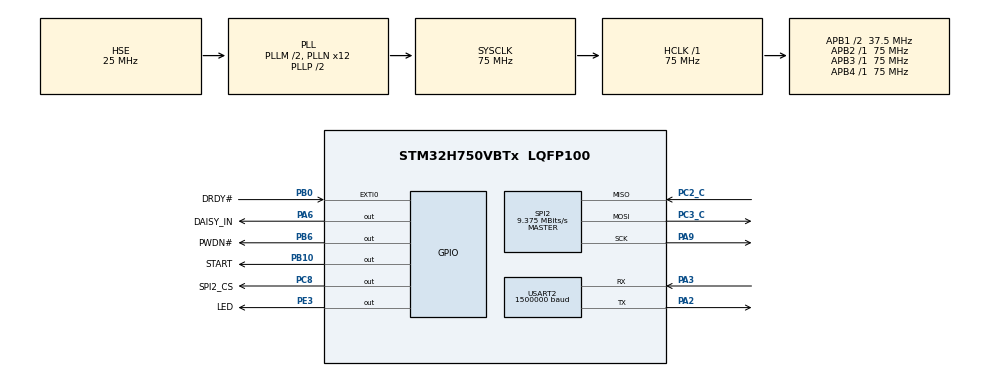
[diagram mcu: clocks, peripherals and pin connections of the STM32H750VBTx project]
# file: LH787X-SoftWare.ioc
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CORTEX_M7.default_mode_Activation=1
Mcu.Family=STM32H7
Mcu.Name=STM32H750VBTx
Mcu.Package=LQFP100
NVIC.PriorityGroup=NVIC_PRIORITYGROUP_4
PA2.Mode=Asynchronous
PA2.Signal=USART2_TX
PA3.Mode=Asynchronous
PA3.Signal=USART2_RX
PA6.GPIO_Label=DAISY_IN
PA6.Signal=GPIO_Output
PA9.Mode=Full_Duplex_Master
PA9.Signal=SPI2_SCK
PB0.GPIO_Label=DRDY\#
PB0.Signal=GPXTI0
PB10.GPIO_Label=START
PB10.Signal=GPIO_Output
PB6.GPIO_Label=PWDN\#
PB6.Signal=GPIO_Output
PC2_C.Mode=Full_Duplex_Master
PC2_C.Signal=SPI2_MISO
PC3_C.Mode=Full_Duplex_Master
PC3_C.Signal=SPI2_MOSI
PC8.GPIO_Label=SPI2_CS
PC8.Signal=GPIO_Output
PE3.GPIO_Label=LED
PE3.Signal=GPIO_Output
PH0-OSC_IN\ (PH0).Mode=HSE-External-Oscillator
PH0-OSC_IN\ (PH0).Signal=RCC_OSC_IN
PH1-OSC_OUT\ (PH1).Mode=HSE-External-Oscillator
PH1-OSC_OUT\ (PH1).Signal=RCC_OSC_OUT
ProjectManager.HeapSize=0x200
ProjectManager.StackSize=0x400
ProjectManager.TargetToolchain=MDK-ARM V5.32
RCC.ADCFreq_Value=50390625
RCC.APB1Freq_Value=37500000
RCC.APB2Freq_Value=75000000
RCC.APB3Freq_Value=75000000
RCC.APB4Freq_Value=75000000
RCC.CortexFreq_Value=75000000
RCC.D2PPRE1=RCC_APB1_DIV2
RCC.DIVM1=2
RCC.DIVN1=12
RCC.HCLKFreq_Value=75000000
RCC.PLLFRACN=0
RCC.PLLSourceVirtual=RCC_PLLSOURCE_HSE
RCC.SYSCLKFreq_VALUE=75000000
RCC.SYSCLKSource=RCC_SYSCLKSOURCE_PLLCLK
RCC.USBFreq_Value=75000000
SPI2.BaudRatePrescaler=SPI_BAUDRATEPRESCALER_8
SPI2.CLKPhase=SPI_PHASE_2EDGE
SPI2.CLKPolarity=SPI_POLARITY_LOW
SPI2.CalculateBaudRate=9.375 MBits/s
SPI2.DataSize=SPI_DATASIZE_8BIT
SPI2.Direction=SPI_DIRECTION_2LINES
SPI2.Mode=SPI_MODE_MASTER
SPI2.VirtualType=VM_MASTER
USART2.BaudRate=1500000
USART2.VirtualMode-Asynchronous=VM_ASYNC
VP_MEMORYMAP_VS_MEMORYMAP.Mode=CurAppReg
board=custom

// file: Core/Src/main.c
/* USER CODE BEGIN Header */
/**
  ******************************************************************************
  * @file           : main.c
  * @brief          : Main program body
  ******************************************************************************
  * @attention
  *
  * Copyright (c) 2026 STMicroelectronics.
  * All rights reserved.
  *
  * This software is licensed under terms that can be found in the LICENSE file
  * in the root directory of this software component.
  * If no LICENSE file comes with this software, it is provided AS-IS.
  *
  ******************************************************************************
  */
/* USER CODE END Header */
#include "main.h"
#include "spi.h"
#include "usart.h"
#include "gpio.h"

/* USER CODE BEGIN Includes */
#include <stdio.h>
#include <string.h>
#include "LHA7878.h"
/* USER CODE END Includes */

/* USER CODE BEGIN PV */
static lha7878_dev_t   g_adc_dev;
static lha7878_frame_t g_frame;
static int64_t         g_uv[8];
/* USER CODE END PV */

void SystemClock_Config(void);
static void MPU_Config(void);
/* USER CODE BEGIN PFP */
void DMA1_Stream7_IRQHandler(void);
void USART2_IRQHandler(void);
/* USER CODE END PFP */

/* USER CODE BEGIN 0 */
/* ---------------------------------------------------------------------------
 * USART2 发送改为 DMA (DMA1 Stream7, 请求 USART2_TX)
 *
 * 原问题: fputc 逐字节调 HAL_UART_Transmit 轮询发送, 一行由十几次 printf
 * 拼成、每字节一次 HAL 调用, 打印期间 CPU 被占约 10~15ms, 行不是原子发出,
 * 调试助手上偶发格式错乱; 且打印阻塞期间 SPI 读数会丢帧.
 *
 * 新路径: printf 仍走 fputc/__io_putchar, 但字符先攒进行缓冲, 遇 '\n' 或
 * 缓冲满时整行一次 DMA 发出; 上一笔 DMA 未完成时下一笔等待 (100ms 超时
 * 后回落轮询发送, 串口输出永不丢字节).
 *
 * 必须同时使能 USART2_IRQn: 本工程 HAL 的 DMA 发送完成分两步, DMA 传完
 * 后只置位 UART TCIE, 真正的收尾 (gState 回 READY、调
 * HAL_UART_TxCpltCallback) 在 UART TC 中断里; 不使能 USART2 中断则
 * gState 永久 BUSY_TX、发送完成回调永不执行.
 *
 * 约束 (手工初始化, 未走 CubeMX):
 *  - CubeMX 侧不要再勾选 USART2 的 DMA, 否则会与这里冲突 (CubeMX 会再
 *    生成一个 DMA1_Stream7_IRQHandler, 链接报重定义). 若改由 CubeMX
 *    接管 DMA, 需先删除本段手工初始化与 USER CODE 4 里的两个中断函数.
 *  - 缓冲区在 .bss, 默认 scatter 下位于 0x24000000 AXI SRAM, DMA1 可
 *    访问; 不要把它移到 DTCM (0x20000000, DMA1 不可访问).
 *  - 本工程未使能 D-Cache, 故 DMA 读缓冲前无需 clean; 若将来使能
 *    D-Cache, 下面 SCB_CleanDCache_by_Addr 一行已预留 (当前是空操作).
 * ------------------------------------------------------------------------- */
#define UART_DMA_TX_BUF_SIZE 256u   /* 单行上限: 表格行约 137 字节, 表头约 110 字节 */
#define UART_DMA_TX_WAIT_MS  100u

static DMA_HandleTypeDef hdma_usart2_tx;
static uint8_t  uart_dma_tx_buf[UART_DMA_TX_BUF_SIZE];
static char     uart_dma_line_buf[UART_DMA_TX_BUF_SIZE];
static uint16_t uart_dma_line_len = 0u;
static volatile uint8_t uart_dma_tx_busy = 0u;
static uint8_t  uart_dma_ready = 0u;

static void uart_dma_init(void);
static void uart_dma_send(const uint8_t *data, uint16_t len);
static void uart_dma_flush_line(void);
static void uart_putc_dma(int ch);

static void uart_dma_init(void)
{
  __HAL_RCC_DMA1_CLK_ENABLE();

  hdma_usart2_tx.Instance = DMA1_Stream7;
  hdma_usart2_tx.Init.Request = DMA_REQUEST_USART2_TX;
  hdma_usart2_tx.Init.Direction = DMA_MEMORY_TO_PERIPH;
  hdma_usart2_tx.Init.PeriphInc = DMA_PINC_DISABLE;
  hdma_usart2_tx.Init.MemInc = DMA_MINC_ENABLE;
  hdma_usart2_tx.Init.PeriphDataAlignment = DMA_PDATAALIGN_BYTE;
  hdma_usart2_tx.Init.MemDataAlignment = DMA_MDATAALIGN_BYTE;
  hdma_usart2_tx.Init.Mode = DMA_NORMAL;
  hdma_usart2_tx.Init.Priority = DMA_PRIORITY_LOW;
  hdma_usart2_tx.Init.FIFOMode = DMA_FIFOMODE_DISABLE;
  if (HAL_DMA_Init(&hdma_usart2_tx) != HAL_OK)
  {
    uart_dma_ready = 0u;  /* DMA 不可用: 自动回落轮询发送, 串口不断 */
    return;
  }
  __HAL_LINKDMA(&huart2, hdmatx, hdma_usart2_tx);

  HAL_NVIC_SetPriority(DMA1_Stream7_IRQn, 0, 0);
  HAL_NVIC_EnableIRQ(DMA1_Stream7_IRQn);
  /* DMA 发完后 HAL 在 UART TC 中断里收尾, 必须使能 USART2 中断 */
  HAL_NVIC_SetPriority(USART2_IRQn, 0, 0);
  HAL_NVIC_EnableIRQ(USART2_IRQn);
  uart_dma_ready = 1u;
}

static void uart_dma_send(const uint8_t *data, uint16_t len)
{
  uint32_t tick;
  if (len == 0u)
  {
    return;
  }
  if (!uart_dma_ready)
  {
    HAL_UART_Transmit(&huart2, (uint8_t *)data, len, 1000);
    return;
  }
  /* 等上一笔 DMA 发完 (稳态下此时早已发完, 不阻塞); 超时则强行中止并轮询补发 */
  tick = HAL_GetTick();
  while (uart_dma_tx_busy)
  {
    if ((HAL_GetTick() - tick) >= UART_DMA_TX_WAIT_MS)
    {
      (void)HAL_UART_AbortTransmit(&huart2);
      uart_dma_tx_busy = 0u;
      HAL_UART_Transmit(&huart2, (uint8_t *)data, len, 1000);
      return;
    }
  }
  if (len > sizeof(uart_dma_tx_buf))
  {
    len = (uint16_t)sizeof(uart_dma_tx_buf);
  }
  memcpy(uart_dma_tx_buf, data, len);
  /* 若将来使能 D-Cache, DMA 读缓冲前必须 clean, 否则可能发出旧数据;
     当前 D-Cache 未使能, 此调用是空操作. */
  SCB_CleanDCache_by_Addr((uint32_t *)uart_dma_tx_buf, len);
  uart_dma_tx_busy = 1u;
  if (HAL_UART_Transmit_DMA(&huart2, uart_dma_tx_buf, len) != HAL_OK)
  {
    /* DMA 启动失败 (如 UART 忙): 回落轮询发送, 避免丢字节 */
    uart_dma_tx_busy = 0u;
    HAL_UART_Transmit(&huart2, (uint8_t *)data, len, 1000);
  }
}

static void uart_dma_flush_line(void)
{
  if (uart_dma_line_len == 0u)
  {
    return;
  }
  uart_dma_send((const uint8_t *)uart_dma_line_buf, uart_dma_line_len);
  uart_dma_line_len = 0u;
}

static void uart_putc_dma(int ch)
{
  if (uart_dma_line_len >= sizeof(uart_dma_line_buf))
  {
    uart_dma_flush_line();  /* 单行超长: 先把已攒的发掉, 再继续攒 */
  }
  uart_dma_line_buf[uart_dma_line_len++] = (char)ch;
  if (ch == '\n')
  {
    uart_dma_flush_line();  /* 行尾: 整行一次 DMA 发出, 行在助手上不可分割 */
  }
}

#if defined(__ARMCC_VERSION) && (__ARMCC_VERSION >= 6010050)
__asm(".global __use_no_semihosting\n\t");
__asm(".global __ARM_use_no_argv\n\t");

FILE __stdout;
FILE __stdin;

int fputc(int ch, FILE *f)
{
  (void)f;
  uart_putc_dma(ch);
  return ch;
}

void _sys_exit(int return_code)
{
  (void)return_code;
  while (1);
}
#else
int fputc(int ch, FILE *f)
{
  (void)f;
  uart_putc_dma(ch);
  return ch;
}
#endif

int __io_putchar(int ch)
{
  uart_putc_dma(ch);
  return ch;
}
/* USER CODE END 0 */

int main(void)
{

  /* MPU Configuration--------------------------------------------------------*/
  MPU_Config();

  /* MCU Configuration--------------------------------------------------------*/

  /* Reset of all peripherals, Initializes the Flash interface and the Systick. */
  HAL_Init();

  /* Configure the system clock */
  SystemClock_Config();

  /* Initialize all configured peripherals */
  MX_GPIO_Init();
  MX_SPI2_Init();
  MX_USART2_UART_Init();
  /* USER CODE BEGIN 2 */
  uart_dma_init();  /* USART2 TX 切 DMA, 必须在第一条 printf 之前 */
  LHA7878_Reset_GPIO_Init();
  printf("\r\n========================================\r\n");
  printf("  STM32H750 LHA7878 8-Channel ADC Demo\r\n");
  printf("========================================\r\n");

  lha7878_config_t cfg;
  lha7878_config_default(&cfg);
  cfg.data_rate = LHA7878_DR_8K;          /* 8kSPS */
  cfg.mode      = LHA7878_MODE_RDATAC;    /* 连续读数 */
  cfg.vref      = LHA7878_VREF_INT_2V4;   /* 内部 2.4V */
  cfg.avdd_mv   = 5000;                   /* 板上 AVDD 是 5V */
  cfg.dvdd_mv   = 3300;                   /* DVDD 3.3V */
  cfg.clk_hz    = 2048000;                /* CLKSEL Pin 52 接高电平: 内部 2.048MHz 振荡器 */
  cfg.sclk_hz   = 9375000;                /* 实际 SCLK = PLL1Q 75MHz / 8 */
  for (uint8_t i = 0; i < 8; i++) {
      cfg.gain[i] = LHA7878_GAIN_1;        /* 全通道增益 1 */
      cfg.mux[i]  = LHA7878_MUX_NORMAL;    /* 全通道正常输入 */
  }

  lha7878_dev_default(&g_adc_dev, &cfg);

  printf("[INIT] Starting LHA7878 initialization...\r\n");
  lha7878_status_t status = lha7878_init(&g_adc_dev);
  if (status != LHA7878_OK) {
      printf("[ERROR] LHA7878 init failed! Error code: %d\r\n", (int)status);
      switch (status) {
          case LHA7878_ERR_ID: {
              printf("        Reason: Chip ID mismatch (Check SPI connection & MISO pin)\r\n");
              /* 诊断: START 拉高让芯片开始转换, 再观察 DRDY / 原始数据 / ID 重复读 */
              lha7878_start_pin(&g_adc_dev, true);
              HAL_Delay(5);
              uint32_t drdy_lows = 0;
              uint32_t t0 = HAL_GetTick();
              while (HAL_GetTick() - t0 < 20u) {
                  if (lha7878_drdy_is_low(&g_adc_dev)) { drdy_lows++; }
              }
              printf("        Debug: DRDY low samples in 20ms = %lu (0 = no conversion/CLK)\r\n",
                     (unsigned long)drdy_lows);
              {
                  uint8_t tx[27] = {0}, rx[27] = {0};
                  HAL_GPIO_WritePin(LHA7878_SPI2_CS_GPIO_Port, LHA7878_SPI2_CS_Pin, GPIO_PIN_RESET);
                  HAL_StatusTypeDef hs = HAL_SPI_TransmitReceive(g_adc_dev.hspi, tx, rx, 27u, 100u);
                  HAL_GPIO_WritePin(LHA7878_SPI2_CS_GPIO_Port, LHA7878_SPI2_CS_Pin, GPIO_PIN_SET);
                  printf("        Debug: raw27 (st=%d):", (int)hs);
                  for (uint8_t i = 0; i < 27u; i++) { printf(" %02X", (unsigned)rx[i]); }
                  printf("\r\n");
              }
              for (uint8_t i = 0; i < 4u; i++) {
                  uint8_t v = 0;
                  lha7878_status_t r = lha7878_read_reg(&g_adc_dev, LHA7878_REG_ID, &v);
                  printf("        Debug: ID retry[%u]=0x%02X (st=%d)\r\n",
                         (unsigned)i, (unsigned)v, (int)r);
              }
              lha7878_start_pin(&g_adc_dev, false);
              break;
          }
          case LHA7878_ERR_VERIFY:
              printf("        Reason: Register write-verify failed (Check SPI Mode 1 / CPHA=2Edge)\r\n");
              break;
          case LHA7878_ERR_TIMEOUT:
              printf("        Reason: DRDY timeout (Check CLK, START pin, or DRDY pin)\r\n");
              break;
          case LHA7878_ERR_RATE:
              printf("        Reason: SCLK rate or data rate configuration conflict\r\n");
              break;
          case LHA7878_ERR_VREF:
              printf("        Reason: VREF parameter invalid (e.g. 4V needs AVDD>=4.5V)\r\n");
              break;
          default:
              printf("        Reason: Generic HAL or Argument error\r\n");
              break;
      }
      Error_Handler();
  }

  printf("[INIT] LHA7878 initialized successfully! (REV_ID OK)\r\n");
  printf("[INIT] Calibration Diagnostic (OFFSETCAL):\r\n");
  printf("       - Hardware Post-Cal CONFIG1  : 0x%02X (1 kSPS auto-reset verified)\r\n", (unsigned)g_cal_log[0]);
  printf("       - Restored & Verified CONFIG1 : 0x%02X (8 kSPS timing restored)\r\n", (unsigned)g_cal_log[3]);
  printf("[INIT] Entering continuous 8-channel acquisition...\r\n\r\n");
  /* USER CODE END 2 */

  /* Infinite loop */
  /* USER CODE BEGIN WHILE */
  uint32_t last_print_tick = 0;
  uint32_t sample_count = 0;
  uint32_t row_count = 0;
  int64_t  raw_accum[8] = {0};

  while (1)
  {
    /* USER CODE END WHILE */

    /* USER CODE BEGIN 3 */
    lha7878_status_t st = lha7878_read_frame(&g_adc_dev, &g_frame, 10);
    if (st == LHA7878_OK || st == LHA7878_ERR_FAULT) {
        for (uint8_t i = 0; i < 8u; i++) {
            raw_accum[i] += g_frame.raw[i];
        }
        sample_count++;

        uint32_t now = HAL_GetTick();
        if (now - last_print_tick >= 200) {
            uint32_t delta_ms = now - last_print_tick;
            last_print_tick = now;
            HAL_GPIO_TogglePin(LED_GPIO_Port, LED_Pin);

            uint32_t actual_sps = (delta_ms > 0) ? (sample_count * 1000u / delta_ms) : 0;

            if (sample_count > 0) {
                for (uint8_t i = 0; i < 8u; i++) {
                    int32_t avg_code = (int32_t)(raw_accum[i] / (int64_t)sample_count);
                    g_uv[i] = lha7878_code_to_uv(avg_code, lha7878_vref_uv(&g_adc_dev), g_adc_dev.cfg.gain[i]);
                    raw_accum[i] = 0;
                }
            }

            if (row_count % 20u == 0u) {
                printf("\r\n  Rate: %lu sps (Samples: %lu)\r\n",
                       (unsigned long)actual_sps, (unsigned long)sample_count);
                printf("  Frame |    CH1    |    CH2    |    CH3    |    CH4    |    CH5    |    CH6    |    CH7    |    CH8    |  mV\r\n");
            }
            sample_count = 0;
            row_count++;

            printf("%7lu |", (unsigned long)g_frame.frame_index);
            for (uint8_t i = 0; i < 8u; i++) {
                printf(" %+9.3f |", (double)g_uv[i] / 1000.0);
            }
            if (g_frame.fault_p != 0u || g_frame.fault_n != 0u) {
                printf("  FAULT P=0x%02X N=0x%02X", g_frame.fault_p, g_frame.fault_n);
            }
            printf("\r\n");
        }
    } else if (st == LHA7878_ERR_TIMEOUT) {
        uint32_t now = HAL_GetTick();
        if (now - last_print_tick >= 1000) {
            last_print_tick = now;
            printf("[WARN] Waiting for DRDY timeout...\r\n");
        }
    }
  }
  /* USER CODE END 3 */
}

void SystemClock_Config(void)
{
  RCC_OscInitTypeDef RCC_OscInitStruct = {0};
  RCC_ClkInitTypeDef RCC_ClkInitStruct = {0};

  /** Supply configuration update enable
  */
  HAL_PWREx_ConfigSupply(PWR_LDO_SUPPLY);

  /** Configure the main internal regulator output voltage
  */
  __HAL_PWR_VOLTAGESCALING_CONFIG(PWR_REGULATOR_VOLTAGE_SCALE3);

  while(!__HAL_PWR_GET_FLAG(PWR_FLAG_VOSRDY)) {}

  /** Initializes the RCC Oscillators according to the specified parameters
  * in the RCC_OscInitTypeDef structure.
  */
  RCC_OscInitStruct.OscillatorType = RCC_OSCILLATORTYPE_HSE;
  RCC_OscInitStruct.HSEState = RCC_HSE_ON;
  RCC_OscInitStruct.PLL.PLLState = RCC_PLL_ON;
  RCC_OscInitStruct.PLL.PLLSource = RCC_PLLSOURCE_HSE;
  RCC_OscInitStruct.PLL.PLLM = 2;
  RCC_OscInitStruct.PLL.PLLN = 12;
  RCC_OscInitStruct.PLL.PLLP = 2;
  RCC_OscInitStruct.PLL.PLLQ = 2;
  RCC_OscInitStruct.PLL.PLLR = 2;
  RCC_OscInitStruct.PLL.PLLRGE = RCC_PLL1VCIRANGE_3;
  RCC_OscInitStruct.PLL.PLLVCOSEL = RCC_PLL1VCOMEDIUM;
  RCC_OscInitStruct.PLL.PLLFRACN = 0;
  if (HAL_RCC_OscConfig(&RCC_OscInitStruct) != HAL_OK)
  {
    Error_Handler();
  }

  /** Initializes the CPU, AHB and APB buses clocks
  */
  RCC_ClkInitStruct.ClockType = RCC_CLOCKTYPE_HCLK|RCC_CLOCKTYPE_SYSCLK
                              |RCC_CLOCKTYPE_PCLK1|RCC_CLOCKTYPE_PCLK2
                              |RCC_CLOCKTYPE_D3PCLK1|RCC_CLOCKTYPE_D1PCLK1;
  RCC_ClkInitStruct.SYSCLKSource = RCC_SYSCLKSOURCE_PLLCLK;
  RCC_ClkInitStruct.SYSCLKDivider = RCC_SYSCLK_DIV1;
  RCC_ClkInitStruct.AHBCLKDivider = RCC_HCLK_DIV1;
  RCC_ClkInitStruct.APB3CLKDivider = RCC_APB3_DIV1;
  RCC_ClkInitStruct.APB1CLKDivider = RCC_APB1_DIV2;
  RCC_ClkInitStruct.APB2CLKDivider = RCC_APB2_DIV1;
  RCC_ClkInitStruct.APB4CLKDivider = RCC_APB4_DIV1;

  if (HAL_RCC_ClockConfig(&RCC_ClkInitStruct, FLASH_LATENCY_1) != HAL_OK)
  {
    Error_Handler();
  }
}

/* USER CODE BEGIN 4 */
void DMA1_Stream7_IRQHandler(void)
{
  HAL_DMA_IRQHandler(&hdma_usart2_tx);
}

void USART2_IRQHandler(void)
{
  HAL_UART_IRQHandler(&huart2);
}

void HAL_UART_TxCpltCallback(UART_HandleTypeDef *huart)
{
  if (huart->Instance == USART2)
  {
    /* 整行已全部移出移位寄存器, 下一行可发 */
    uart_dma_tx_busy = 0u;
  }
}

void HAL_UART_ErrorCallback(UART_HandleTypeDef *huart)
{
  if (huart->Instance == USART2)
  {
    /* 出错也放行, 下一行走超时回落, 不永久卡死 */
    uart_dma_tx_busy = 0u;
  }
}

/* USER CODE END 4 */

 /* MPU Configuration */

void MPU_Config(void)
{
  MPU_Region_InitTypeDef MPU_InitStruct = {0};

  /* Disables the MPU */
  HAL_MPU_Disable();

  /** Initializes and configures the Region and the memory to be protected
  */
  MPU_InitStruct.Enable = MPU_REGION_ENABLE;
  MPU_InitStruct.Number = MPU_REGION_NUMBER0;
  MPU_InitStruct.BaseAddress = 0x0;
  MPU_InitStruct.Size = MPU_REGION_SIZE_4GB;
  MPU_InitStruct.SubRegionDisable = 0x87;
  MPU_InitStruct.TypeExtField = MPU_TEX_LEVEL0;
  MPU_InitStruct.AccessPermission = MPU_REGION_NO_ACCESS;
  MPU_InitStruct.DisableExec = MPU_INSTRUCTION_ACCESS_DISABLE;
  MPU_InitStruct.IsShareable = MPU_ACCESS_SHAREABLE;
  MPU_InitStruct.IsCacheable = MPU_ACCESS_NOT_CACHEABLE;
  MPU_InitStruct.IsBufferable = MPU_ACCESS_NOT_BUFFERABLE;

  HAL_MPU_ConfigRegion(&MPU_InitStruct);
  /* Enables the MPU */
  HAL_MPU_Enable(MPU_PRIVILEGED_DEFAULT);

}

void Error_Handler(void)
{
  __disable_irq();
  while (1)
  {
  }
}
